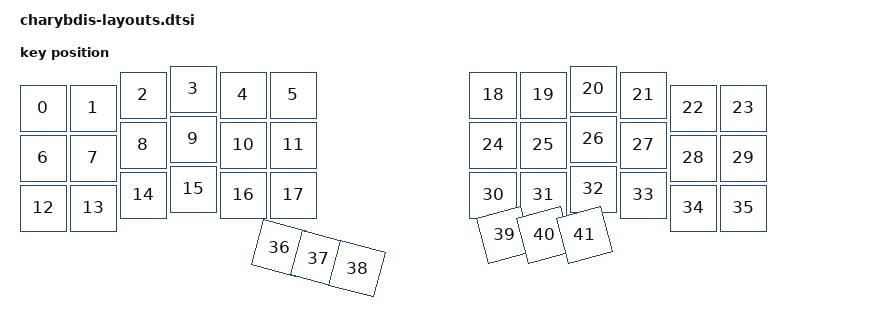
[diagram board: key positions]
#include <physical_layouts.dtsi>

/ {
    charybdis_physical_layout: charybdis_physical_layout {
        compatible = "zmk,physical-layout";
        display-name = "Charybdis Mini 3x6";

        kscan = <&kscan0>;
        transform = <&default_transform>;

        keys
            // =====================================================
            // Key Physical Attributes:
            // <w   h    x    y    rot    rx    ry>
            //
            // w   = key width
            // h   = key height
            // x   = x position
            // y   = y position
            // rot = rotation (in 0.1 degrees, e.g. 1500 = 15°)
            // rx  = rotation center x
            // ry  = rotation center y
            // =====================================================

            // =====================================================
            // LEFT HALF — MAIN CLUSTER (3 x 6)
            // =====================================================

            // Row 0 (top)
            = <&key_physical_attrs 100 100    0   38    0   0   0>
            , <&key_physical_attrs 100 100  100   38    0   0   0>
            , <&key_physical_attrs 100 100  200   12    0   0   0>
            , <&key_physical_attrs 100 100  300    0    0   0   0>
            , <&key_physical_attrs 100 100  400   12    0   0   0>
            , <&key_physical_attrs 100 100  500   12    0   0   0>

            // Row 1 (home)
            , <&key_physical_attrs 100 100    0  138    0   0   0>
            , <&key_physical_attrs 100 100  100  138    0   0   0>
            , <&key_physical_attrs 100 100  200  112    0   0   0>
            , <&key_physical_attrs 100 100  300  100    0   0   0>
            , <&key_physical_attrs 100 100  400  112    0   0   0>
            , <&key_physical_attrs 100 100  500  112    0   0   0>

            // Row 2 (bottom)
            , <&key_physical_attrs 100 100    0  238    0   0   0>
            , <&key_physical_attrs 100 100  100  238    0   0   0>
            , <&key_physical_attrs 100 100  200  212    0   0   0>
            , <&key_physical_attrs 100 100  300  200    0   0   0>
            , <&key_physical_attrs 100 100  400  212    0   0   0>
            , <&key_physical_attrs 100 100  500  212    0   0   0>

            // =====================================================
            // RIGHT HALF — MAIN CLUSTER (3 x 6)
            // =====================================================

            // Row 0 (top)
            , <&key_physical_attrs 100 100  900   12    0   0   0>
            , <&key_physical_attrs 100 100 1000   12    0   0   0>
            , <&key_physical_attrs 100 100 1100    0    0   0   0>
            , <&key_physical_attrs 100 100 1200   12    0   0   0>
            , <&key_physical_attrs 100 100 1300   38    0   0   0>
            , <&key_physical_attrs 100 100 1400   38    0   0   0>

            // Row 1 (home)
            , <&key_physical_attrs 100 100  900  112    0   0   0>
            , <&key_physical_attrs 100 100 1000  112    0   0   0>
            , <&key_physical_attrs 100 100 1100  100    0   0   0>
            , <&key_physical_attrs 100 100 1200  112    0   0   0>
            , <&key_physical_attrs 100 100 1300  138    0   0   0>
            , <&key_physical_attrs 100 100 1400  138    0   0   0>

            // Row 2 (bottom)
            , <&key_physical_attrs 100 100  900  212    0   0   0>
            , <&key_physical_attrs 100 100 1000  212    0   0   0>
            , <&key_physical_attrs 100 100 1100  200    0   0   0>
            , <&key_physical_attrs 100 100 1200  212    0   0   0>
            , <&key_physical_attrs 100 100 1300  238    0   0   0>
            , <&key_physical_attrs 100 100 1400  238    0   0   0>

            // =====================================================
            // THUMB CLUSTER — 3 KEYS PER SIDE
            // =====================================================

            // Left Thumb Cluster
            , <&key_physical_attrs 100 100  360  300  1500  398  790>
            , <&key_physical_attrs 100 100  440  300  1500  398  790>
            , <&key_physical_attrs 100 100  520  300  1500  398  790>

            // Right Thumb Cluster
            , <&key_physical_attrs 100 100 1040  300 (-1500) 1002  790>
            , <&key_physical_attrs 100 100 1120  300 (-1500) 1082  790>
            , <&key_physical_attrs 100 100 1200  300 (-1500) 1162  790>
            ;
    };
};
